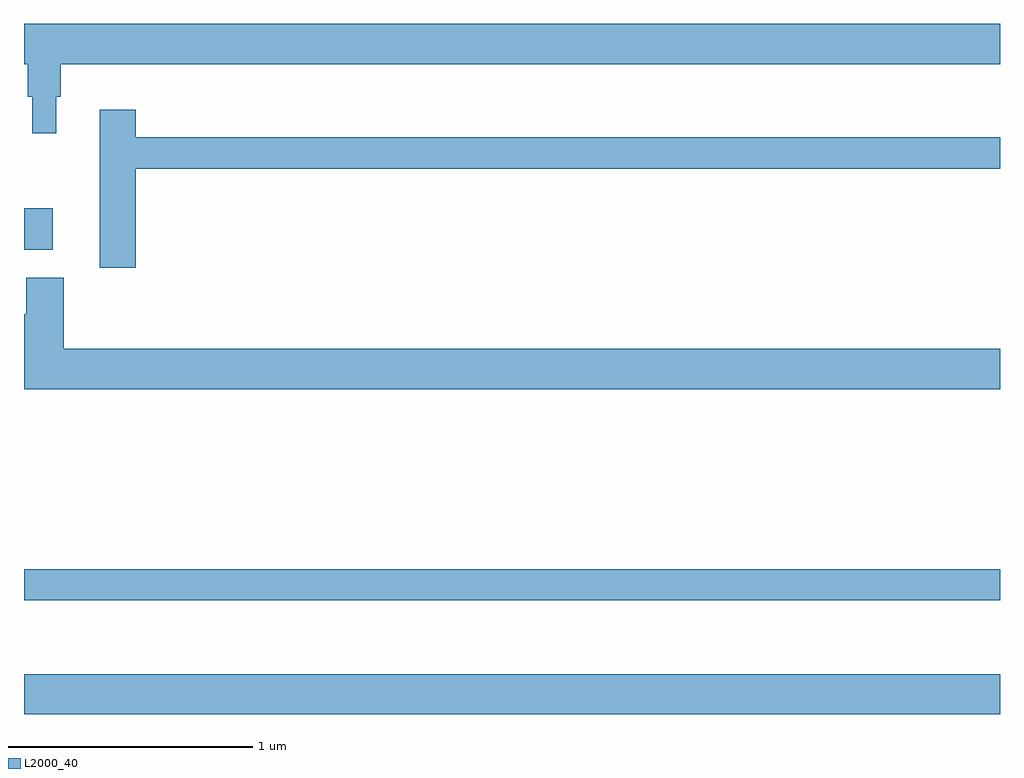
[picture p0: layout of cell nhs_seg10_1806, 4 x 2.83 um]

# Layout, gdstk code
import gdstk
lib = gdstk.Library(unit=1e-6, precision=1e-09)
def R(c, l, rs):  # rectangles x0, y0, x1, y1
    for r in rs: c.add(gdstk.rectangle(r[:2], r[2:], *l))
def P(c, l, *ps):  # polygons
    for p in ps: c.add(gdstk.Polygon(p, *l))
L2000_40 = (2000, 40)

nhs_seg10_1806 = lib.new_cell('nhs_seg10_1806')
R(nhs_seg10_1806, L2000_40, [(205,1309.64,209,1309.804), (205,1310.106,209,1310.234), (205,1311.542,205.117,1311.713)])
P(nhs_seg10_1806, L2000_40, [(205.132,1312.17),(205.151,1312.17),(205.151,1312.304),(209,1312.304),(209,1312.468),(205,1312.468),(205,1312.304),(205.015,1312.304),(205.015,1312.17),(205.034,1312.17),(205.034,1312.02),(205.132,1312.02)],
  [(205.457,1311.874),(209,1311.874),(209,1312.003),(205.457,1312.003),(205.457,1312.117),(205.31,1312.117),(205.31,1311.468),(205.457,1311.468)],
  [(209,1311.136),(205.163,1311.136),(205.163,1311.427),(205.01,1311.427),(205.01,1311.278),(205,1311.278),(205,1310.972),(209,1310.972)])

lib.write_gds('nhs_seg10_1806.gds')
